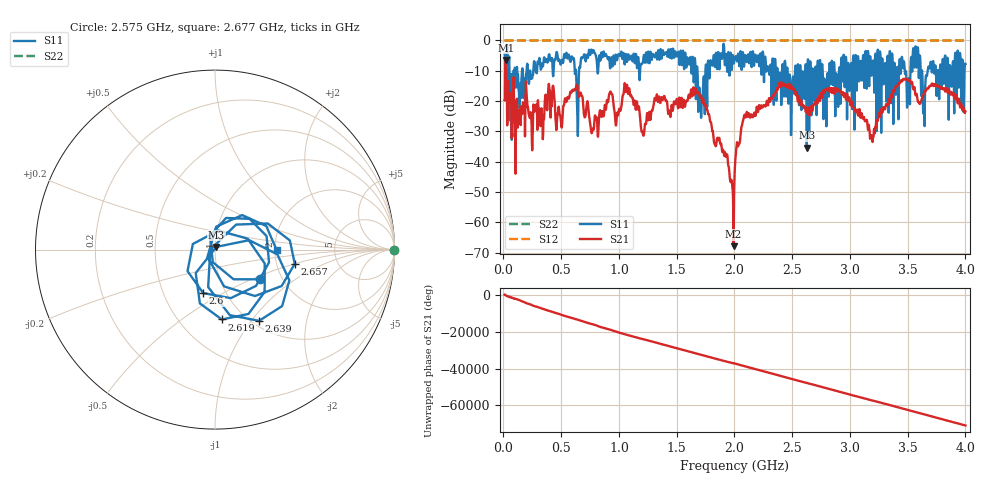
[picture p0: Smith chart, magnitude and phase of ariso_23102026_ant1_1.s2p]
! Anritsu VNA Master:  Model: MS2024B
! SN:  2417009
! /card0/usr/ariso_23102026_ant1_1.s2p
! Existing Calibration Information:
! TYPE:  Current Settings,  Active Cal Settings
! TIME:  10/23/2026 05:03:46 AM,  10/23/2026 04:57:56 AM
! INTERNAL TEMP:  49.3 C,  47.3 C
! # POINTS:  1605,  1605
! START FREQ:  10.000 MHz,  10.000 MHz
! STOP FREQ:  4.000 GHz,  4.000 GHz
! SOURCE POWER:  Default,  Default
! IFBW:  1 kHz,  1 kHz
! AVG FACTOR:  1 ,  1
! REF PLANE 1:  0 mm,  0 mm
! REF PLANE 2:  0 mm,  0 mm
! CAL TYPE:  1P2P S11,S21,  1P2P S11,S21
! CAL METHOD:  SOLT,  SOLT
! CAL LINE TYPE:  Coax,  Coax
! DUT PORT 1:  N-Conn(M),  N-Conn(M)
! DUT PORT 2:  N-Conn(M),  N-Conn(M)
! CAL STATUS:  OK: Accuracy High,  --
# GHZ S DB R 50.0
! FREQ.GHZ  S11DB  S11A  S21DB  S21A  S12DB  S12A  S22DB  S22A
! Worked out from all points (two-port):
!   1605 points, 10 MHz to 4 GHz, reference 50 ohm
!   highest |S21| = -6.40 dB at 19.95 MHz (marker M1); lowest = -67.9 dB at 1.993 GHz (marker M2)
!   |S21| within 3 dB of the highest: 14.92 MHz to 23.73 MHz (8.81 MHz wide, 45.6 % of centre)
!   lowest |S11| = -35.4 dB at 2.627 GHz (marker M3), VSWR 1.03, Z = 50.7 + j1.54 ohm
!   |S11| at or under -10 dB: 1.68 GHz to 1.749 GHz (69.29 MHz wide, 4.04 % of centre); 2.461 GHz to 2.525 GHz (64.73 MHz wide, 2.6 % of centre); 2.764 GHz to 2.821 GHz (56.5 MHz wide, 2.02 % of centre)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
!   |S22| runs from 0.0 to 0.0 dB; largest |S21 - S12| = 1.5
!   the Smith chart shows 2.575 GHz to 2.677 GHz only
!   S11 on the Smith chart (normalised r, x): 2.575 GHz: 1.54, -0.56; 2.6 GHz: 0.78, -0.41; 2.619 GHz: 0.79, -0.72; 2.639 GHz: 1.08, -1.09; 2.657 GHz: 2.53, -0.50; 2.677 GHz: 2.05, -0.02
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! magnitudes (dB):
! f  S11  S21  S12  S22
! 10 MHz  -4.4  -19.7  0.0  0.0
! 19.95 MHz  -12.5  -6.4  0.0  0.0
! 74.68 MHz  -19.7  -26.4  0.0  0.0
! 676.7 MHz  -5.6  -18.3  0.0  0.0
! 1.067 GHz  -6.3  -15.1  0.0  0.0
! 1.209 GHz  -6.7  -31.0  0.0  0.0
! 1.341 GHz  -3.2  -20.0  0.0  0.0
! 1.679 GHz  -9.3  -17.4  0.0  0.0
! 1.993 GHz  -6.7  -67.9  0.0  0.0
! 2.005 GHz  -5.5  -41.0  0.0  0.0
! 2.095 GHz  -4.8  -25.1  0.0  0.0
! 2.575 GHz  -10.5  -20.1  0.0  0.0
! 2.6 GHz  -12.0  -22.1  0.0  0.0
! 2.619 GHz  -8.2  -23.7  0.0  0.0
! 2.627 GHz  -35.4  -22.1  0.0  0.0
! 2.639 GHz  -6.6  -24.2  0.0  0.0
! 2.657 GHz  -6.9  -24.6  0.0  0.0
! 2.672 GHz  -12.2  -22.9  0.0  0.0
! 2.677 GHz  -9.3  -22.7  0.0  0.0
! 3.194 GHz  -7.8  -33.2  0.0  0.0
! 3.336 GHz  -23.9  -19.3  0.0  0.0
! 4 GHz  -7.8  -23.4  0.0  0.0
